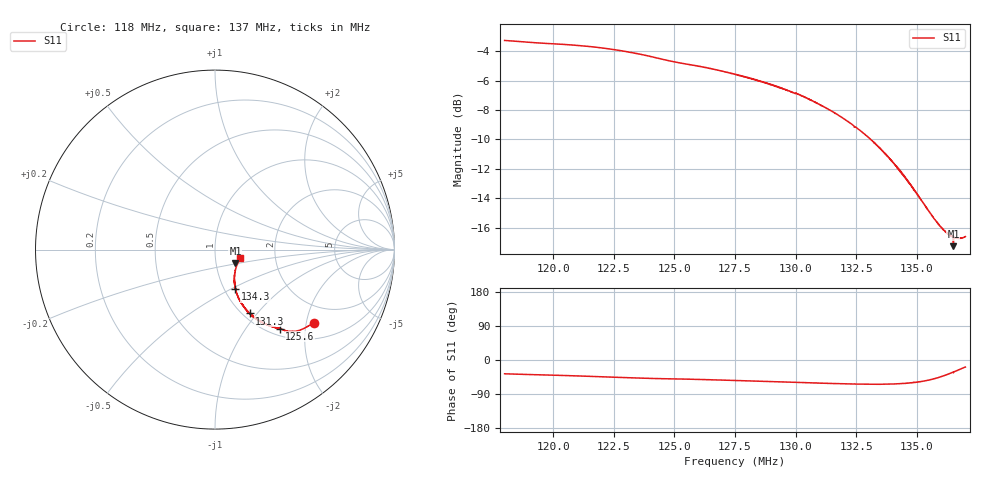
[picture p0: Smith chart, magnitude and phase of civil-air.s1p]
! Calibrated averaged scanner-service zoom
# Hz S RI R 50
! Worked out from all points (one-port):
!   2001 points, 118 MHz to 137 MHz, reference 50 ohm
!   lowest |S11| = -17.3 dB at 136.5 MHz (marker M1), VSWR 1.32, Z = 62 - j9.64 ohm
!   |S11| at or under -10 dB: 133.1 MHz to end of sweep
!   S11 on the Smith chart (normalised r, x): 118 MHz: 1.45, -2.22; 125.6 MHz: 1.12, -1.46; 131.3 MHz: 1.07, -0.91; 134.3 MHz: 1.13, -0.53; 137 MHz: 1.32, -0.13
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1.18e8  0.5526 -0.4072
1.20375e8  0.5044 -0.4346
1.21534e8  0.4769 -0.4477
1.2275e8  0.4411 -0.4558
1.238045e8  0.4076 -0.4556
1.245265e8  0.3851 -0.4496
1.25125e8  0.3706 -0.4432
1.255905e8  0.3607 -0.4397
1.26569e8  0.3358 -0.4344
1.275e8  0.3096 -0.4258
1.28849e8  0.2708 -0.4096
1.29875e8  0.2373 -0.3907
1.303785e8  0.2214 -0.3813
1.312525e8  0.1924 -0.356
1.3225e8  0.1621 -0.3207
1.327915e8  0.1474 -0.2979
1.33276e8  0.1337 -0.2755
1.338555e8  0.1209 -0.2442
1.343305e8  0.1137 -0.2188
1.34625e8  0.1109 -0.1979
1.35309e8  0.1081 -0.1557
1.35879e8  0.1122 -0.118
1.361925e8  0.1176 -0.0979
1.36411e8  0.1228 -0.0838
1.36506e8  0.1138 -0.0763
1.36601e8  0.1275 -0.0715
1.36753e8  0.1318 -0.0617
1.37e8  0.14 -0.0472
